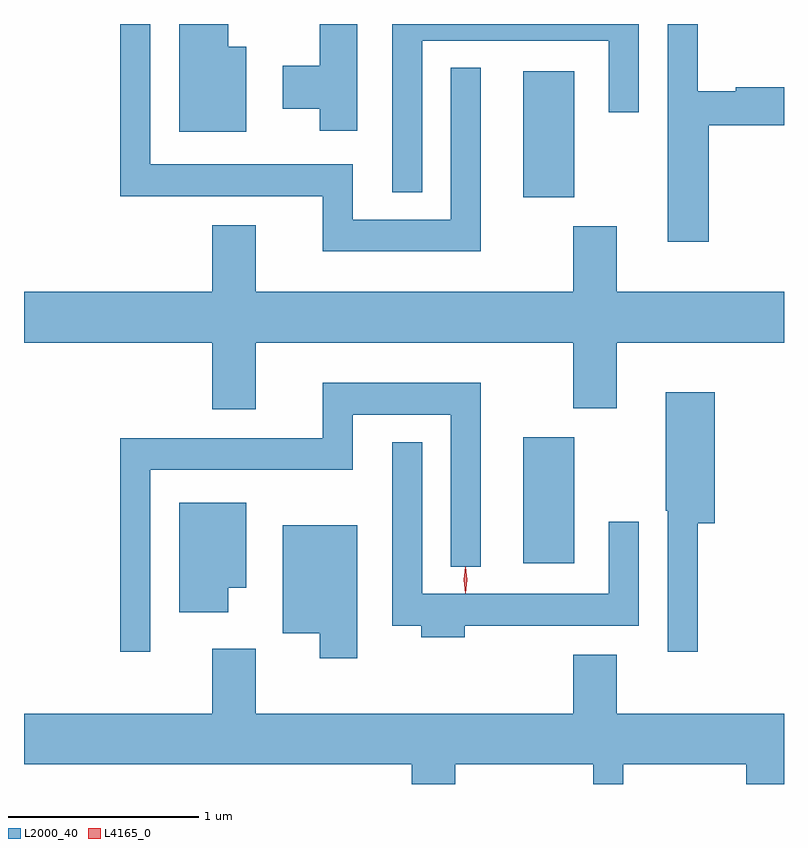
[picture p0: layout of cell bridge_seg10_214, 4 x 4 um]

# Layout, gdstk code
import gdstk
lib = gdstk.Library(unit=1e-6, precision=1e-09)
def R(c, l, rs):  # rectangles x0, y0, x1, y1
    for r in rs: c.add(gdstk.rectangle(r[:2], r[2:], *l))
def P(c, l, *ps):  # polygons
    for p in ps: c.add(gdstk.Polygon(p, *l))
L2000_40 = (2000, 40)
L4165_0 = (4165, 0)

bridge_seg10_214 = lib.new_cell('bridge_seg10_214')
R(bridge_seg10_214, L2000_40, [(1741.136,2086.116,1741.404,2086.779), (1741.136,2088.041,1741.404,2088.704)])
P(bridge_seg10_214, L2000_40, [(1740.604,2088.866),(1741.586,2088.866),(1741.586,2088.488),(1741.744,2088.488),(1741.744,2088.953),(1740.446,2088.953),(1740.446,2088.068),(1740.604,2088.068)],
  [(1740.914,2088.722),(1740.756,2088.722),(1740.756,2087.924),(1740.239,2087.924),(1740.239,2088.214),(1739.174,2088.214),(1739.174,2088.953),(1739.016,2088.953),(1739.016,2088.046),(1740.081,2088.046),(1740.081,2087.756),(1740.914,2087.756)],
  [(1739.679,2088.834),(1739.584,2088.834),(1739.584,2088.953),(1739.326,2088.953),(1739.326,2088.386),(1739.679,2088.386)],
  [(1740.264,2088.953),(1740.066,2088.953),(1740.066,2088.734),(1739.871,2088.734),(1739.871,2088.506),(1740.066,2088.506),(1740.066,2088.391),(1740.264,2088.391)],
  [(1742.114,2088.421),(1742.509,2088.421),(1742.509,2088.619),(1742.256,2088.619),(1742.256,2088.599),(1742.054,2088.599),(1742.054,2088.953),(1741.896,2088.953),(1741.896,2087.806),(1742.114,2087.806)],
  [(1739.729,2087.276),(1741.401,2087.276),(1741.401,2086.931),(1741.629,2086.931),(1741.629,2087.276),(1742.509,2087.276),(1742.509,2087.544),(1741.629,2087.544),(1741.629,2087.889),(1741.401,2087.889),(1741.401,2087.544),(1739.729,2087.544),(1739.729,2087.894),(1739.501,2087.894),(1739.501,2087.544),(1738.509,2087.544),(1738.509,2087.276),(1739.501,2087.276),(1739.501,2086.926),(1739.729,2086.926)],
  [(1739.174,2086.606),(1740.239,2086.606),(1740.239,2086.896),(1740.756,2086.896),(1740.756,2086.097),(1740.914,2086.097),(1740.914,2087.064),(1740.081,2087.064),(1740.081,2086.774),(1739.016,2086.774),(1739.016,2085.648),(1739.174,2085.648)],
  [(1742.054,2086.326),(1742.144,2086.326),(1742.144,2087.014),(1741.886,2087.014),(1741.886,2086.39),(1741.896,2086.39),(1741.896,2085.648),(1742.054,2085.648)],
  [(1740.829,2085.786),(1741.744,2085.786),(1741.744,2086.333),(1741.586,2086.333),(1741.586,2085.954),(1740.604,2085.954),(1740.604,2086.753),(1740.446,2086.753),(1740.446,2085.786),(1740.601,2085.786),(1740.601,2085.726),(1740.829,2085.726)],
  [(1739.584,2085.986),(1739.679,2085.986),(1739.679,2086.434),(1739.326,2086.434),(1739.326,2085.856),(1739.584,2085.856)],
  [(1740.264,2086.314),(1739.871,2086.314),(1739.871,2085.746),(1740.066,2085.746),(1740.066,2085.616),(1740.264,2085.616)],
  [(1740.779,2085.056),(1741.506,2085.056),(1741.506,2084.953),(1741.664,2084.953),(1741.664,2085.056),(1742.311,2085.056),(1742.311,2084.953),(1742.509,2084.953),(1742.509,2085.324),(1741.629,2085.324),(1741.629,2085.634),(1741.401,2085.634),(1741.401,2085.324),(1739.729,2085.324),(1739.729,2085.664),(1739.501,2085.664),(1739.501,2085.324),(1738.509,2085.324),(1738.509,2085.056),(1740.551,2085.056),(1740.551,2084.953),(1740.779,2084.953)])
P(bridge_seg10_214, L4165_0, [(1740.832,2085.957),(1740.823,2086.027),(1740.832,2086.096),(1740.833,2086.096),(1740.833,2086.096),(1740.843,2086.027),(1740.833,2085.957),(1740.833,2085.957)])

lib.write_gds('bridge_seg10_214.gds')
